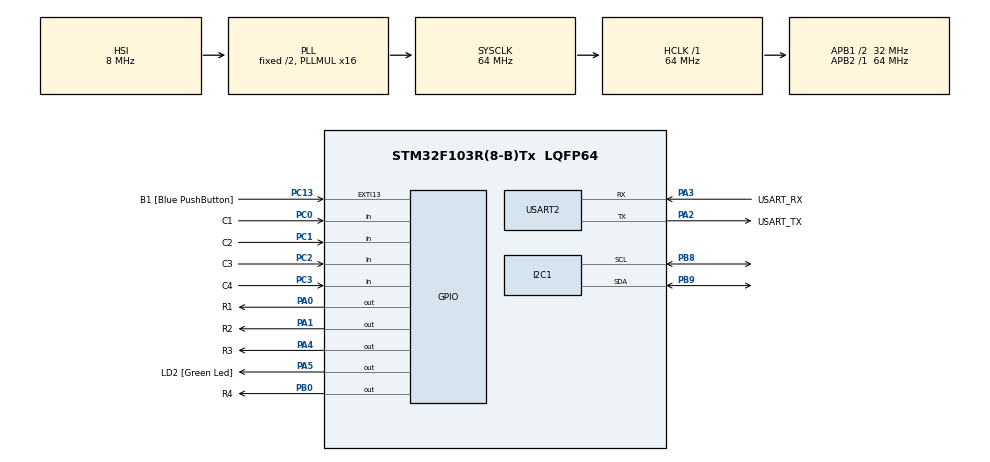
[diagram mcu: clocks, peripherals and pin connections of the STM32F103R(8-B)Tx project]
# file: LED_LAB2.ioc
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Mcu.Family=STM32F1
Mcu.Name=STM32F103R(8-B)Tx
Mcu.Package=LQFP64
NVIC.EXTI15_10_IRQn=true\:0\:0\:false\:false\:true\:true\:true\:true
NVIC.PriorityGroup=NVIC_PRIORITYGROUP_4
PA0-WKUP.GPIO_Label=R1
PA0-WKUP.Signal=GPIO_Output
PA1.GPIO_Label=R2
PA1.Signal=GPIO_Output
PA13.GPIO_Label=TMS
PA13.Mode=Serial_Wire
PA13.Signal=SYS_JTMS-SWDIO
PA14.GPIO_Label=TCK
PA14.Mode=Serial_Wire
PA14.Signal=SYS_JTCK-SWCLK
PA2.GPIO_Label=USART_TX
PA2.GPIO_Mode=GPIO_MODE_AF_PP
PA2.GPIO_PuPd=GPIO_NOPULL
PA2.GPIO_Speed=GPIO_SPEED_FREQ_LOW
PA2.Mode=Asynchronous
PA2.Signal=USART2_TX
PA3.GPIO_Label=USART_RX
PA3.GPIO_Mode=GPIO_MODE_AF_PP
PA3.GPIO_PuPd=GPIO_NOPULL
PA3.GPIO_Speed=GPIO_SPEED_FREQ_LOW
PA3.Mode=Asynchronous
PA3.Signal=USART2_RX
PA4.GPIO_Label=R3
PA4.Signal=GPIO_Output
PA5.GPIO_Label=LD2 [Green Led]
PA5.GPIO_ModeDefaultOutputPP=GPIO_MODE_OUTPUT_PP
PA5.GPIO_PuPd=GPIO_NOPULL
PA5.GPIO_Speed=GPIO_SPEED_FREQ_LOW
PA5.Signal=GPIO_Output
PB0.GPIO_Label=R4
PB0.Signal=GPIO_Output
PB3.GPIO_Label=SWO
PB3.Signal=SYS_JTDO-TRACESWO
PB8.Mode=I2C
PB8.Signal=I2C1_SCL
PB9.Mode=I2C
PB9.Signal=I2C1_SDA
PC0.GPIO_Label=C1
PC0.GPIO_PuPd=GPIO_PULLDOWN
PC0.Signal=GPIO_Input
PC1.GPIO_Label=C2
PC1.GPIO_PuPd=GPIO_PULLDOWN
PC1.Signal=GPIO_Input
PC13-TAMPER-RTC.GPIO_Label=B1 [Blue PushButton]
PC13-TAMPER-RTC.GPIO_PuPd=GPIO_NOPULL
PC13-TAMPER-RTC.Signal=GPXTI13
PC14-OSC32_IN.Mode=LSE-External-Oscillator
PC14-OSC32_IN.Signal=RCC_OSC32_IN
PC15-OSC32_OUT.Mode=LSE-External-Oscillator
PC15-OSC32_OUT.Signal=RCC_OSC32_OUT
PC2.GPIO_Label=C3
PC2.GPIO_PuPd=GPIO_PULLDOWN
PC2.Signal=GPIO_Input
PC3.GPIO_Label=C4
PC3.GPIO_PuPd=GPIO_PULLDOWN
PC3.Signal=GPIO_Input
PD0-OSC_IN.Mode=HSE-External-Clock-Source
PD0-OSC_IN.Signal=RCC_OSC_IN
PD1-OSC_OUT.Mode=HSE-External-Clock-Source
PD1-OSC_OUT.Signal=RCC_OSC_OUT
ProjectManager.HeapSize=0x200
ProjectManager.StackSize=0x400
ProjectManager.TargetToolchain=STM32CubeIDE
RCC.AHBFreq_Value=64000000
RCC.APB1CLKDivider=RCC_HCLK_DIV2
RCC.APB1Freq_Value=32000000
RCC.APB1TimFreq_Value=64000000
RCC.APB2Freq_Value=64000000
RCC.APB2TimFreq_Value=64000000
RCC.HCLKFreq_Value=64000000
RCC.PLLMUL=RCC_PLL_MUL16
RCC.RTCClockSelection=RCC_RTCCLKSOURCE_LSE
RCC.SYSCLKFreq_VALUE=64000000
RCC.SYSCLKSource=RCC_SYSCLKSOURCE_PLLCLK
RCC.USBFreq_Value=64000000
USART2.VirtualMode=VM_ASYNC
board=NUCLEO-F103RB

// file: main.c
/* USER CODE BEGIN Header */
/**
  ******************************************************************************
  * @file           : main.c
  * @brief          : Main program body
  ******************************************************************************
  * @attention
  *
  * Copyright (c) 2026 STMicroelectronics.
  * All rights reserved.
  *
  * This software is licensed under terms that can be found in the LICENSE file
  * in the root directory of this software component.
  * If no LICENSE file comes with this software, it is provided AS-IS.
  *
  ******************************************************************************
  */
/* USER CODE END Header */
#include "main.h"

/* USER CODE BEGIN Includes */
#include "lcd_i2c.h"
#include "keypad.h"

/* USER CODE END Includes */

I2C_HandleTypeDef hi2c1;

UART_HandleTypeDef huart2;

/* USER CODE BEGIN PV */
int first_press = 1;
int col_counts[2] = {0, 0}; // [0] is for Line 1, [1] is for Line 2
int line_count = 0;         // Current line (0 or 1)

/* USER CODE END PV */

void SystemClock_Config(void);
static void MX_GPIO_Init(void);
static void MX_USART2_UART_Init(void);
static void MX_I2C1_Init(void);

int main(void)
{

  /* MCU Configuration--------------------------------------------------------*/

  /* Reset of all peripherals, Initializes the Flash interface and the Systick. */
  HAL_Init();

  /* Configure the system clock */
  SystemClock_Config();

  /* Initialize all configured peripherals */
  MX_GPIO_Init();
  MX_USART2_UART_Init();
  MX_I2C1_Init();
  /* USER CODE BEGIN 2 */
  LCD_Init();
  LCD_Send_String("System Ready!");
  HAL_Delay(1000);
  LCD_Clear();
  LCD_Send_String("Press a Key:");
  LCD_Send_Cmd(0xC0); // Move to second line
  /* USER CODE END 2 */

  /* Infinite loop */
  /* USER CODE BEGIN WHILE */
  while (1)
  {
    char key = Keypad_Scan();

    if (key != 0) {
        if (first_press) {
            LCD_Clear();
            first_press = 0;
        }

        // --- IMPROVED TOGGLE (#) ---
        if (key == '#') {
            line_count = !line_count; // Switch between 0 and 1
            if (line_count == 0) {
                LCD_Send_Cmd(0x80 + col_counts[0]); // Jump back to Line 1 saved spot
            } else {
                LCD_Send_Cmd(0xC0 + col_counts[1]); // Jump back to Line 2 saved spot
            }
        }

        // --- CLEAR (*) ---
        else if (key == '*') {
            LCD_Clear();
            col_counts[0] = 0;
            col_counts[1] = 0;
            line_count = 0;
        }

        // --- WRITING ---
        else {
            if (col_counts[line_count] < 16) {
                LCD_Send_Data(key);
                col_counts[line_count]++;
            }
        }
        HAL_Delay(300);
    }
    HAL_Delay(10);
  }
}
    /* USER CODE END WHILE */

void SystemClock_Config(void)
{
  RCC_OscInitTypeDef RCC_OscInitStruct = {0};
  RCC_ClkInitTypeDef RCC_ClkInitStruct = {0};

  /** Initializes the RCC Oscillators according to the specified parameters
  * in the RCC_OscInitTypeDef structure.
  */
  RCC_OscInitStruct.OscillatorType = RCC_OSCILLATORTYPE_HSI;
  RCC_OscInitStruct.HSIState = RCC_HSI_ON;
  RCC_OscInitStruct.HSICalibrationValue = RCC_HSICALIBRATION_DEFAULT;
  RCC_OscInitStruct.PLL.PLLState = RCC_PLL_ON;
  RCC_OscInitStruct.PLL.PLLSource = RCC_PLLSOURCE_HSI_DIV2;
  RCC_OscInitStruct.PLL.PLLMUL = RCC_PLL_MUL16;
  if (HAL_RCC_OscConfig(&RCC_OscInitStruct) != HAL_OK)
  {
    Error_Handler();
  }

  /** Initializes the CPU, AHB and APB buses clocks
  */
  RCC_ClkInitStruct.ClockType = RCC_CLOCKTYPE_HCLK|RCC_CLOCKTYPE_SYSCLK
                              |RCC_CLOCKTYPE_PCLK1|RCC_CLOCKTYPE_PCLK2;
  RCC_ClkInitStruct.SYSCLKSource = RCC_SYSCLKSOURCE_PLLCLK;
  RCC_ClkInitStruct.AHBCLKDivider = RCC_SYSCLK_DIV1;
  RCC_ClkInitStruct.APB1CLKDivider = RCC_HCLK_DIV2;
  RCC_ClkInitStruct.APB2CLKDivider = RCC_HCLK_DIV1;

  if (HAL_RCC_ClockConfig(&RCC_ClkInitStruct, FLASH_LATENCY_2) != HAL_OK)
  {
    Error_Handler();
  }
}

static void MX_I2C1_Init(void)
{

  hi2c1.Instance = I2C1;
  hi2c1.Init.ClockSpeed = 100000;
  hi2c1.Init.DutyCycle = I2C_DUTYCYCLE_2;
  hi2c1.Init.OwnAddress1 = 0;
  hi2c1.Init.AddressingMode = I2C_ADDRESSINGMODE_7BIT;
  hi2c1.Init.DualAddressMode = I2C_DUALADDRESS_DISABLE;
  hi2c1.Init.OwnAddress2 = 0;
  hi2c1.Init.GeneralCallMode = I2C_GENERALCALL_DISABLE;
  hi2c1.Init.NoStretchMode = I2C_NOSTRETCH_DISABLE;
  if (HAL_I2C_Init(&hi2c1) != HAL_OK)
  {
    Error_Handler();
  }

}

static void MX_USART2_UART_Init(void)
{

  huart2.Instance = USART2;
  huart2.Init.BaudRate = 115200;
  huart2.Init.WordLength = UART_WORDLENGTH_8B;
  huart2.Init.StopBits = UART_STOPBITS_1;
  huart2.Init.Parity = UART_PARITY_NONE;
  huart2.Init.Mode = UART_MODE_TX_RX;
  huart2.Init.HwFlowCtl = UART_HWCONTROL_NONE;
  huart2.Init.OverSampling = UART_OVERSAMPLING_16;
  if (HAL_UART_Init(&huart2) != HAL_OK)
  {
    Error_Handler();
  }

}

static void MX_GPIO_Init(void)
{
  GPIO_InitTypeDef GPIO_InitStruct = {0};

  /* GPIO Ports Clock Enable */
  __HAL_RCC_GPIOC_CLK_ENABLE();
  __HAL_RCC_GPIOD_CLK_ENABLE();
  __HAL_RCC_GPIOA_CLK_ENABLE();
  __HAL_RCC_GPIOB_CLK_ENABLE();

  /*Configure GPIO pin Output Level */
  HAL_GPIO_WritePin(GPIOA, R1_Pin|R2_Pin|R3_Pin|LD2_Pin, GPIO_PIN_RESET);

  /*Configure GPIO pin Output Level */
  HAL_GPIO_WritePin(R4_GPIO_Port, R4_Pin, GPIO_PIN_RESET);

  /*Configure GPIO pin : B1_Pin */
  GPIO_InitStruct.Pin = B1_Pin;
  GPIO_InitStruct.Mode = GPIO_MODE_IT_RISING;
  GPIO_InitStruct.Pull = GPIO_NOPULL;
  HAL_GPIO_Init(B1_GPIO_Port, &GPIO_InitStruct);

  /*Configure GPIO pins : C1_Pin C2_Pin C3_Pin C4_Pin */
  GPIO_InitStruct.Pin = C1_Pin|C2_Pin|C3_Pin|C4_Pin;
  GPIO_InitStruct.Mode = GPIO_MODE_INPUT;
  GPIO_InitStruct.Pull = GPIO_PULLDOWN;
  HAL_GPIO_Init(GPIOC, &GPIO_InitStruct);

  /*Configure GPIO pins : R1_Pin R2_Pin R3_Pin LD2_Pin */
  GPIO_InitStruct.Pin = R1_Pin|R2_Pin|R3_Pin|LD2_Pin;
  GPIO_InitStruct.Mode = GPIO_MODE_OUTPUT_PP;
  GPIO_InitStruct.Pull = GPIO_NOPULL;
  GPIO_InitStruct.Speed = GPIO_SPEED_FREQ_LOW;
  HAL_GPIO_Init(GPIOA, &GPIO_InitStruct);

  /*Configure GPIO pin : R4_Pin */
  GPIO_InitStruct.Pin = R4_Pin;
  GPIO_InitStruct.Mode = GPIO_MODE_OUTPUT_PP;
  GPIO_InitStruct.Pull = GPIO_NOPULL;
  GPIO_InitStruct.Speed = GPIO_SPEED_FREQ_LOW;
  HAL_GPIO_Init(R4_GPIO_Port, &GPIO_InitStruct);

  /* EXTI interrupt init*/
  HAL_NVIC_SetPriority(EXTI15_10_IRQn, 0, 0);
  HAL_NVIC_EnableIRQ(EXTI15_10_IRQn);

}

void Error_Handler(void)
{
  __disable_irq();
  while (1)
  {
  }
}
